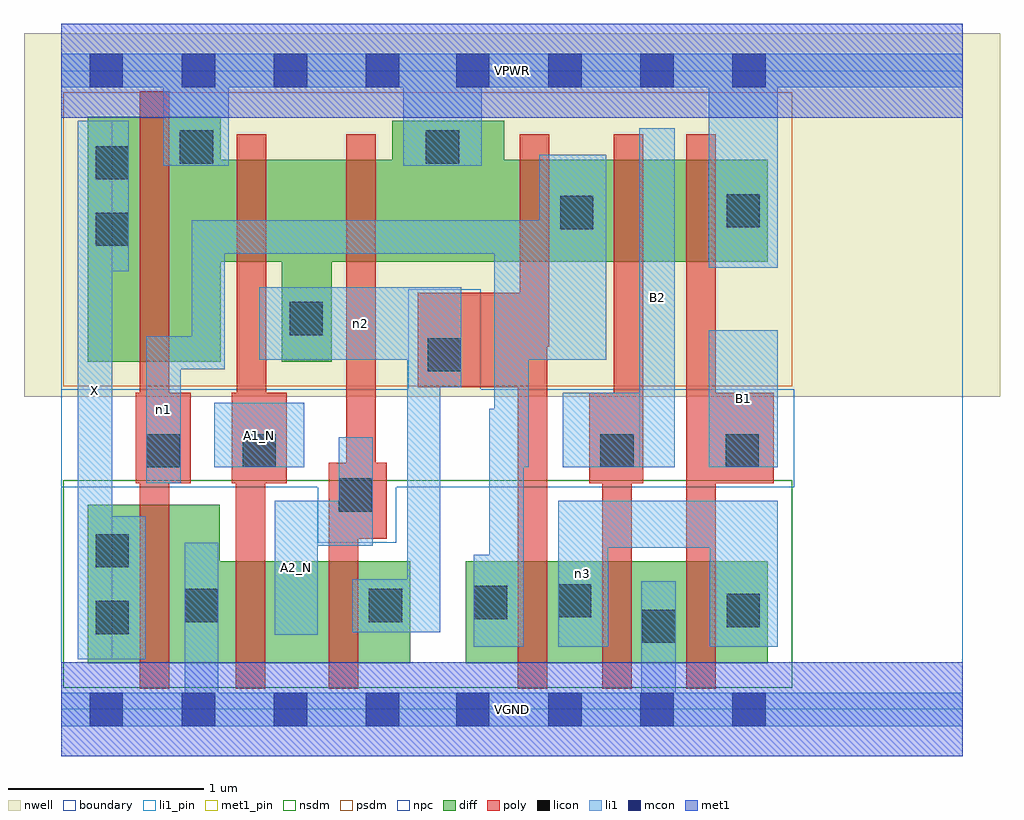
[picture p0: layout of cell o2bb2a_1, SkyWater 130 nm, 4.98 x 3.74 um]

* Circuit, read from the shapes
.subckt o2bb2a_1 A1_N A2_N B1 B2 VGND VPWR X n1 n2 n3
XM1 VGND n1 X VSUBS sky130_fd_pr__nfet_01v8 w=0.81 l=0.15
XM2 n4 A1_N VGND VSUBS sky130_fd_pr__nfet_01v8 w=0.52 l=0.15
XM3 n2 A2_N n4 VSUBS sky130_fd_pr__nfet_01v8 w=0.52 l=0.15
XM4 n3 n2 n1 VSUBS sky130_fd_pr__nfet_01v8 w=0.52 l=0.15
XM5 VGND B2 n3 VSUBS sky130_fd_pr__nfet_01v8 w=0.52 l=0.15
XM6 n3 B1 VGND VSUBS sky130_fd_pr__nfet_01v8 w=0.52 l=0.15
XM7 VPWR n1 X n5 sky130_fd_pr__pfet_01v8 w=1.25 l=0.15
XM8 n2 A1_N VPWR n5 sky130_fd_pr__pfet_01v8 w=0.52 l=0.15
XM9 VPWR A2_N n2 n5 sky130_fd_pr__pfet_01v8 w=0.52 l=0.15
XM10 n1 n2 VPWR n5 sky130_fd_pr__pfet_01v8 w=0.52 l=0.15
XM11 n6 B2 n1 n5 sky130_fd_pr__pfet_01v8 w=0.52 l=0.15
XM12 VPWR B1 n6 n5 sky130_fd_pr__pfet_01v8 w=0.52 l=0.15
.ends

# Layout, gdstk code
import gdstk
lib = gdstk.Library(unit=1e-6, precision=1e-09)
def R(c, l, rs):  # rectangles x0, y0, x1, y1
    for r in rs: c.add(gdstk.rectangle(r[:2], r[2:], *l))
def A(c, l, x, y, w, h, nx, ny, dx, dy):  # array of equal rectangles
    R(c, l, [(x+i*dx, y+j*dy, x+i*dx+w, y+j*dy+h) for i in range(nx) for j in range(ny)])
nwell = (64, 20)
diff = (65, 20)
poly = (66, 20)
licon = (66, 44)
li1_pin = (67, 16)
li1 = (67, 20)
mcon = (67, 44)
met1_pin = (68, 16)
met1 = (68, 20)
nsdm = (93, 44)
psdm = (94, 20)
npc = (95, 20)
boundary = (235, 4)

o2bb2a_1 = lib.new_cell('o2bb2a_1')
R(o2bb2a_1, nwell, [(-0.19,1.595,4.79,3.45), (0,1.595,4.6,3.45)])
R(o2bb2a_1, diff, [(0.135,0.235,1.78,0.755), (0.135,0.235,0.81,1.045), (2.065,0.235,3.605,0.755), (0.135,1.775,0.815,3.025), (1.125,1.775,1.38,2.805), (0.135,2.285,3.605,2.805), (1.69,2.285,2.26,3.005)])
R(o2bb2a_1, poly, [(0.4,0.105,0.55,3.155), (0.89,0.105,1.04,1.615), (1.365,0.105,1.515,1.26), (2.33,0.105,2.48,2.125), (2.34,0.105,2.48,2.935), (2.76,0.105,2.91,1.615), (3.19,0.105,3.34,2.935), (1.365,0.87,1.66,1.26), (0.38,1.155,0.66,1.615), (0.87,1.155,1.15,1.615), (0.895,1.155,1.045,2.935), (2.695,1.155,2.97,1.615), (2.82,1.155,2.97,2.935), (3.19,1.155,3.635,1.615), (1.455,1.26,1.605,2.935), (1.82,1.645,2.48,2.125), (2.34,1.85,2.49,2.935)])
R(o2bb2a_1, licon, [(2.965,0.34,3.135,0.51), (0.175,0.385,0.345,0.555), (3.395,0.42,3.565,0.59), (0.63,0.445,0.8,0.615), (1.57,0.445,1.74,0.615), (2.105,0.46,2.275,0.63), (2.535,0.47,2.705,0.64), (0.175,0.725,0.345,0.895), (1.415,1.01,1.585,1.18), (0.435,1.235,0.605,1.405), (0.925,1.235,1.095,1.405), (2.75,1.235,2.92,1.405), (3.39,1.235,3.56,1.405), (1.87,1.725,2.04,1.895), (1.165,1.91,1.335,2.08), (0.175,2.365,0.345,2.535), (2.545,2.45,2.715,2.62), (3.395,2.46,3.565,2.63), (0.175,2.705,0.345,2.875), (0.605,2.785,0.775,2.955), (1.86,2.785,2.03,2.955)])
R(o2bb2a_1, li1_pin, [(0.085,0.255,0.26,3.005), (1.09,0.38,1.31,1.065), (0.78,1.235,1.24,1.565), (2.95,1.235,3.13,2.965), (3.305,1.235,3.655,1.935)])
R(o2bb2a_1, li1, [(0,-0.085,4.6,0.085), (0.63,-0.085,0.8,0.85), (2.96,-0.085,3.135,0.655), (0.085,0.255,0.26,3.005), (0.085,0.255,0.43,0.985), (2.105,0.32,2.36,0.79), (2.185,0.32,2.36,1.535), (2.535,0.32,2.79,1.065), (3.31,0.32,3.655,1.065), (1.09,0.38,1.31,1.065), (1.485,0.395,1.935,0.665), (1.765,0.395,1.935,2.155), (2.535,0.825,3.655,1.065), (1.09,0.835,1.59,1.065), (1.415,0.835,1.59,1.39), (0.435,1.155,0.61,1.905), (0.78,1.235,1.24,1.565), (2.21,1.235,2.385,2.495), (2.56,1.235,3.13,1.615), (2.95,1.235,3.13,2.965), (3.305,1.235,3.655,1.935), (1.765,1.645,2.04,2.155), (0.435,1.735,0.835,1.905), (0.665,1.735,0.835,2.495), (1.01,1.785,2.04,2.155), (2.21,1.785,2.78,2.495), (2.44,1.785,2.78,2.83), (0.085,2.235,0.345,3.005), (3.305,2.255,3.655,3.345), (0.665,2.325,2.78,2.495), (0.52,2.775,0.855,3.345), (1.745,2.775,2.145,3.345), (0,3.175,4.6,3.345)])
A(o2bb2a_1, mcon, 0.145, -0.085, 0.17, 0.17, 4, 2, 0.47, 3.26)
A(o2bb2a_1, mcon, 2.015, -0.085, 0.17, 0.17, 4, 2, 0.47, 3.26)
R(o2bb2a_1, met1_pin, [(0,-0.24,4.6,0.24), (0,3.02,4.6,3.5)])
R(o2bb2a_1, met1, [(0,-0.24,4.6,0.24), (0,3.02,4.6,3.5)])
R(o2bb2a_1, nsdm, [(0.01,0.11,3.73,1.17)])
R(o2bb2a_1, psdm, [(0.01,1.65,3.73,3.15)])
R(o2bb2a_1, npc, [(1.31,0.85,1.71,1.635), (0,1.135,3.74,1.635), (1.77,1.135,2.14,2.145)])
R(o2bb2a_1, boundary, [(0,0,4.6,3.26)])
o2bb2a_1.add(gdstk.Label('A1_N', (1.01,1.4), layer=67, texttype=5))
o2bb2a_1.add(gdstk.Label('A2_N', (1.2,0.722), layer=67, texttype=5))
o2bb2a_1.add(gdstk.Label('B1', (3.48,1.585), layer=67, texttype=5))
o2bb2a_1.add(gdstk.Label('B2', (3.04,2.1), layer=67, texttype=5))
o2bb2a_1.add(gdstk.Label('X', (0.172,1.63), layer=67, texttype=5))
o2bb2a_1.add(gdstk.Label('n3', (2.662,0.692), layer=67, texttype=5))
o2bb2a_1.add(gdstk.Label('n2', (1.525,1.97), layer=67, texttype=5))
o2bb2a_1.add(gdstk.Label('n1', (0.522,1.53), layer=67, texttype=5))
o2bb2a_1.add(gdstk.Label('VPWR', (2.3,3.26), layer=68, texttype=5))
o2bb2a_1.add(gdstk.Label('VGND', (2.3,0), layer=68, texttype=5))
o2bb2a_1.add(gdstk.Label('A1_N', (1.01,1.4), layer=67, texttype=16))
o2bb2a_1.add(gdstk.Label('A2_N', (1.2,0.722), layer=67, texttype=16))
o2bb2a_1.add(gdstk.Label('B1', (3.48,1.585), layer=67, texttype=16))
o2bb2a_1.add(gdstk.Label('B2', (3.04,2.1), layer=67, texttype=16))
o2bb2a_1.add(gdstk.Label('X', (0.172,1.63), layer=67, texttype=16))
o2bb2a_1.add(gdstk.Label('VPWR', (2.3,3.26), layer=68, texttype=16))
o2bb2a_1.add(gdstk.Label('VGND', (2.3,0), layer=68, texttype=16))

lib.write_gds('o2bb2a_1.gds')
